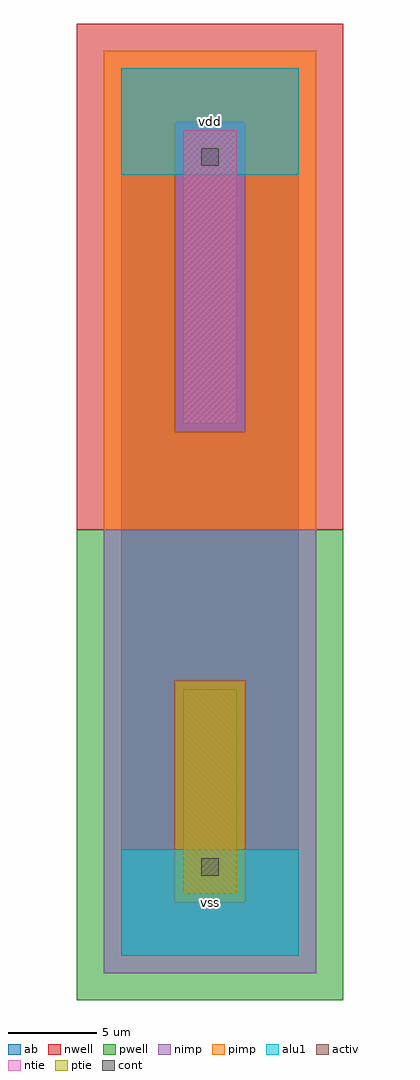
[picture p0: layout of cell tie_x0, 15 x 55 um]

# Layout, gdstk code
import gdstk
lib = gdstk.Library(unit=1e-6, precision=1e-09)
def R(c, l, rs):  # rectangles x0, y0, x1, y1
    for r in rs: c.add(gdstk.rectangle(r[:2], r[2:], *l))
ntie = (5, 0)
ptie = (6, 0)
cont = (25, 0)
pwell = (41, 0)
nwell = (42, 0)
activ = (43, 0)
pimp = (44, 0)
nimp = (45, 0)
alu1 = (49, 0)
ab = (63, 0)

tie_x0 = lib.new_cell('tie_x0')
R(tie_x0, ntie, [(3.5,30,6.5,46.5)])
R(tie_x0, ptie, [(3.5,3.5,6.5,15)])
R(tie_x0, cont, [(4.5,4.5,5.5,5.5), (4.5,44.5,5.5,45.5)])
R(tie_x0, pwell, [(-2.5,-2.5,12.5,24)])
R(tie_x0, nwell, [(-2.5,24,12.5,52.5)])
R(tie_x0, activ, [(3.5,3.5,6.5,15), (3.5,30,6.5,46.5)])
R(tie_x0, pimp, [(3,3,7,15.5), (-1,24,11,29.5), (-1,29.5,3,47), (7,29.5,11,47), (-1,47,11,51)])
R(tie_x0, nimp, [(-1,-1,11,3), (-1,3,3,15.5), (7,3,11,15.5), (-1,15.5,11,24), (3,29.5,7,47)])
R(tie_x0, alu1, [(0,0,10,6), (0,0,10,6), (0,44,10,50), (0,44,10,50)])
R(tie_x0, ab, [(0,0,10,50)])
tie_x0.add(gdstk.Label('vss', (5,3), layer=49, texttype=0))
tie_x0.add(gdstk.Label('vdd', (5,47), layer=49, texttype=0))

lib.write_gds('tie_x0.gds')
